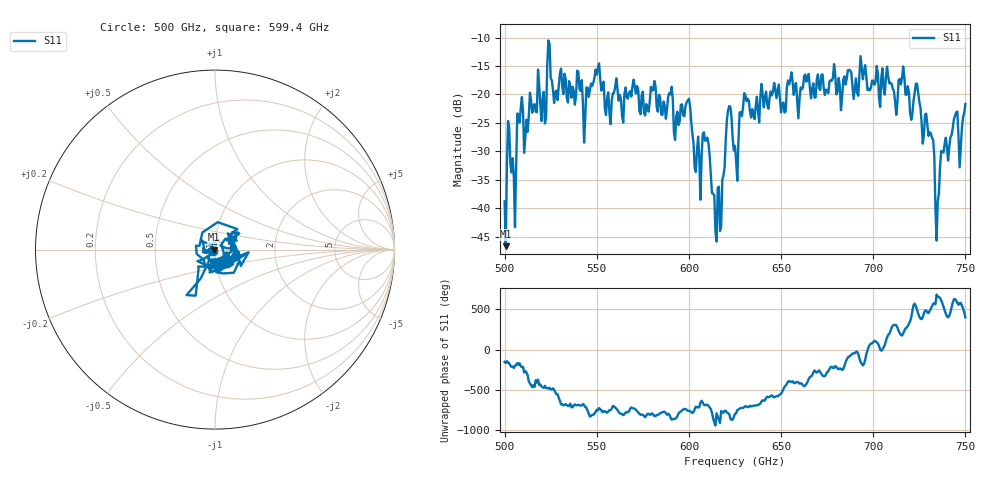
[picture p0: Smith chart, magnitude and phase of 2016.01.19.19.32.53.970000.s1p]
!Created with skrf (http://scikit-rf.org).
# GHz S RI R 50.0
!freq ReS11 ImS11
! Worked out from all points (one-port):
!   401 points, 500 GHz to 750 GHz, reference 50 ohm
!   lowest |S11| = -46.7 dB at 500.6 GHz (marker M1), VSWR 1.01, Z = 49.6 - j0.106 ohm
!   |S11| at or under -10 dB: start of sweep to end of sweep
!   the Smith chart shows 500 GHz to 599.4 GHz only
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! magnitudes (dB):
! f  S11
! 500 GHz  -38.8
! 500.6 GHz  -46.7
! 503.1 GHz  -32.2
! 505 GHz  -34.5
! 508.1 GHz  -25.0
! 521.2 GHz  -19.5
! 524.4 GHz  -11.1
! 527.5 GHz  -19.6
! 531.2 GHz  -18.5
! 562.5 GHz  -20.1
! 580.6 GHz  -19.2
! 593.8 GHz  -23.0
! 599.4 GHz  -21.0
! 605 GHz  -27.4
! 609.4 GHz  -28.1
! 615.6 GHz  -36.4
! 621.9 GHz  -22.0
! 625 GHz  -29.0
! 630.6 GHz  -20.2
! 651.2 GHz  -21.4
! 656.2 GHz  -17.7
! 687.5 GHz  -15.7
! 718.8 GHz  -18.6
! 731.9 GHz  -27.6
! 735 GHz  -38.9
! 738.1 GHz  -30.2
! 747.5 GHz  -29.3
! 750 GHz  -21.7
